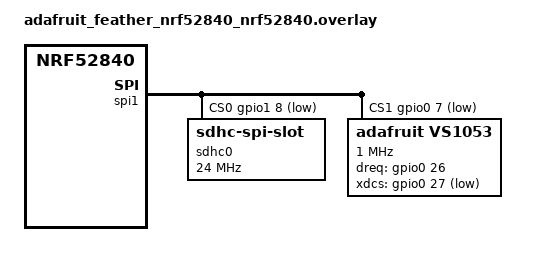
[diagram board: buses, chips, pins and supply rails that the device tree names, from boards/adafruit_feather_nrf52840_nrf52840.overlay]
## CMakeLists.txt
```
cmake_minimum_required(VERSION 3.20.0)
find_package(Zephyr REQUIRED HINTS $ENV{ZEPHYR_BASE})

project(MeshyQ)

target_sources(app PRIVATE
  src/main.c
  src/model_handler.c
  src/chat_cli.c
  src/audio_player.c
  src/vs1053.c
  src/sd_card.c
  src/usb_id.c
  src/bootloader.c
)

target_include_directories(app PRIVATE
  include
)
```

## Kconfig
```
#
# Copyright (c) 2020 Nordic Semiconductor
#
# SPDX-License-Identifier: LicenseRef-Nordic-5-Clause
#

source "Kconfig.zephyr"

menu "MeshyQ wireless audio cue system"

config BT_MESH_CHAT_CLI_MESSAGE_LENGTH
	int "Max length of the message to be sent over mesh"
	default 90
	range 0 255
	help
	  Impacts on memory size occupied by the buffer of a message to be
	  published. This does not include null terminator. The message must also
	  fit into the application SDU. Adjust BT_MESH_TX_SEG_MAX and
	  BT_MESH_RX_SEG_MAX to be able to receive the longest messages.

config BT_MESH_CHAT_SAMPLE_PRESENCE_CACHE_SIZE
	int "Presence cache size"
	default 10
	range 0 32767
	help
	  Presence cache stores previously received presence of chat clients.
	  Recommended to be as big as number of chat clients in the mesh network.

endmenu

module = BT_MESH_CHAT_CLI
module-str = BT Mesh Chat Client model
source "$(ZEPHYR_BASE)/subsys/logging/Kconfig.template.log_config"
```

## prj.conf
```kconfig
CONFIG_NCS_SAMPLES_DEFAULTS=y

# Deferred logging helps improve LPN power consumption
# when friendship is established.
CONFIG_LOG_MODE_DEFERRED=y

# General configuration
CONFIG_NCS_APPLICATION_BOOT_BANNER_STRING="MeshyQ"
CONFIG_SYSTEM_WORKQUEUE_STACK_SIZE=2048
CONFIG_FLASH=y
CONFIG_FLASH_MAP=y
CONFIG_NVS=y
CONFIG_SETTINGS=y
CONFIG_NVS_LOOKUP_CACHE=y
CONFIG_SETTINGS_NVS_NAME_CACHE=y
CONFIG_HWINFO=y
CONFIG_GPIO=y
CONFIG_SPI=y

# The board default USB identity ("Zephyr Project" / "CDC ACM serial
# backend") is a compile-time-fixed string, so it can't include a per-chip
# hardware UID. Disable it in favor of src/usb_id.c, which builds an
# equivalent USB device but names it "MeshyQ <hex UID>" so each node in the
# fleet is distinguishable on the host.
CONFIG_CDC_ACM_SERIAL_INITIALIZE_AT_BOOT=n

# SD card (Music Maker FeatherWing) storage
CONFIG_DISK_ACCESS=y
CONFIG_FILE_SYSTEM=y
CONFIG_FAT_FILESYSTEM_ELM=y

# Bluetooth configuration
CONFIG_BT=y
CONFIG_BT_DEVICE_NAME="MeshyQ"
CONFIG_BT_L2CAP_TX_BUF_COUNT=16
CONFIG_BT_OBSERVER=y
CONFIG_BT_PERIPHERAL=y
CONFIG_BT_SETTINGS=y

# Disable unused Bluetooth features
CONFIG_BT_CTLR_LE_ENC=n
CONFIG_BT_PHY_UPDATE=n
CONFIG_BT_CTLR_CHAN_SEL_2=n
CONFIG_BT_CTLR_MIN_USED_CHAN=n
CONFIG_BT_CTLR_PRIVACY=n

# Bluetooth Mesh configuration
CONFIG_BT_MESH=y
# Every node relays. At the ~13-node scale of this deployment that's the
# right call, not a problem to thin out: the common advice to limit relays
# to a small percentage of nodes is aimed at large (100s of nodes) dense
# lighting-style deployments where redundant relaying causes collision
# storms. A fleet this size needs full relay coverage for connectivity.
CONFIG_BT_MESH_RELAY=y
CONFIG_BT_MESH_FRIEND=y

# Reliability tuning for a sparse-traffic, ~13-node fleet: with infrequent
# messages there's no "the next one will probably get through" luck, so
# each send needs its own redundancy.
#   - Relays forward each packet exactly once by default (retransmit count
#     0). That's the single biggest reliability gap for multi-hop delivery:
#     losing one over-the-air transmission at any hop loses the message
#     outright. Retransmitting twice per hop closes that gap.
#   - The originating node repeats its own first transmission one extra
#     time beyond the default, for the same reason on the first hop.
#   - The replay-protection list (CRPL) defaults to 10 entries, which is
#     under the node count; it should exceed the number of nodes with some
#     margin (entries are cheap, ~64 B each).
CONFIG_BT_MESH_RELAY_RETRANSMIT_COUNT=2
CONFIG_BT_MESH_NETWORK_TRANSMIT_COUNT=3
CONFIG_BT_MESH_CRPL=16

# Mesh buffer and segment configuration (fixes "Unable to allocate loopback")
CONFIG_BT_MESH_LOOPBACK_BUFS=8
CONFIG_BT_MESH_RX_SEG_MAX=16
CONFIG_BT_MESH_TX_SEG_MAX=16
CONFIG_BT_MESH_TX_SEG_MSG_COUNT=4

# Extra relay/advertising buffer headroom for the retransmit counts above:
# more retransmitted copies are in flight per message now, and this project
# has already hit one real "Unable to allocate" bug (see LOOPBACK_BUFS)
# from underestimating buffer needs.
CONFIG_BT_MESH_RELAY_BUF_COUNT=16
CONFIG_BT_MESH_ADV_BUF_COUNT=10

CONFIG_BT_MESH_PB_GATT=y
CONFIG_BT_MESH_GATT_PROXY=y
CONFIG_BT_MESH_CFG_CLI=y

# Enable Bluetooth Mesh models debug logs
CONFIG_BT_MESH_LOG_LEVEL_DBG=y

# Enable Shell module and use UART as a backend
CONFIG_SHELL=y
CONFIG_SHELL_BACKEND_SERIAL=y
CONFIG_FLASH_SHELL=n

# sys_reboot(), used by the "bootloader" shell command (src/bootloader.c)
CONFIG_REBOOT=y

CONFIG_LOG_BACKEND_RTT=n

# Defensive sizing learned the hard way during hardware bring-up: the
# default main stack (1024B) and heap (0B) are too small once SD/FAT and
# Bluetooth Mesh are both in play, and previously caused a hard-to-diagnose
# crash severe enough to prevent USB enumeration. Audio/SD/VS1053 bring-up
# now runs on its own thread (see audio_player.c) with its own 4096B stack,
# but this still gives bt_ready()'s own Bluetooth/mesh init path headroom.
CONFIG_MAIN_STACK_SIZE=4096
CONFIG_HEAP_MEM_POOL_SIZE=4096

# So a stack overflow shows up as a clear fault message instead of a
# silent crash/reset.
CONFIG_HW_STACK_PROTECTION=y
```

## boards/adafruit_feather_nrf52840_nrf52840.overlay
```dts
/*
 * Adafruit Music Maker FeatherWing w/ Amp (VS1053 + microSD), stacked
 * directly on the Feather header.
 *
 * SCK/MOSI/MISO come from the board's default feather_spi (spi1) pins.
 * The two SPI devices below (VS1053 command interface and the SD
 * card) each get their own entry in spi1's cs-gpios, selected by
 * their `reg` index. VS1053 XDCS (data chip-select) and DREQ are not
 * part of the SPI framework's CS handling and are toggled/read
 * manually by the vs1053 driver. The wing ties VS1053 reset to the
 * Feather's shared reset line, so there's no separate reset GPIO.
 *
 * Pin mapping, per Adafruit's Music Maker FeatherWing wiring for
 * Feather boards (fixed by the wing's own PCB, not board-specific):
 *   SD card CS   -> D5  (P1.08)
 *   VS1053 XCS   -> D6  (P0.07)
 *   VS1053 DREQ  -> D9  (P0.26)
 *   VS1053 XDCS  -> D10 (P0.27)
 */

&spi1 {
	status = "okay";
	cs-gpios = <&gpio1 8 GPIO_ACTIVE_LOW>,
		   <&gpio0 7 GPIO_ACTIVE_LOW>;

	sdhc0: sdhc@0 {
		compatible = "zephyr,sdhc-spi-slot";
		reg = <0>;
		status = "okay";
		spi-max-frequency = <24000000>;

		mmc {
			compatible = "zephyr,sdmmc-disk";
			disk-name = "SD";
			status = "okay";
		};
	};

	vs1053: vs1053@1 {
		compatible = "adafruit,vs1053";
		reg = <1>;
		status = "okay";
		spi-max-frequency = <1000000>;
		dreq-gpios = <&gpio0 26 GPIO_ACTIVE_HIGH>;
		xdcs-gpios = <&gpio0 27 GPIO_ACTIVE_LOW>;
	};
};
```

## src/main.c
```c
/** @file
 *  @brief MeshyQ self-provisioning mesh chat node
 */
#include <zephyr/bluetooth/bluetooth.h>
#include <bluetooth/mesh/models.h>
#include <zephyr/drivers/hwinfo.h>
#include <zephyr/kernel.h>
#include <zephyr/sys/util.h>
#include "chat_cli.h"
#include "audio_player.h"
#include "model_handler.h"

#include <zephyr/logging/log.h>
LOG_MODULE_REGISTER(chat, CONFIG_LOG_DEFAULT_LEVEL);

/* Pre-shared keys — identical on all nodes. Not for production use. */
static const uint8_t net_key[16] = {
	0x01, 0x23, 0x45, 0x67, 0x89, 0xab, 0xcd, 0xef,
	0x01, 0x23, 0x45, 0x67, 0x89, 0xab, 0xcd, 0xef,
};
static const uint8_t dev_key[16] = {
	0x01, 0x23, 0x45, 0x67, 0x89, 0xab, 0xcd, 0xef,
	0x01, 0x23, 0x45, 0x67, 0x89, 0xab, 0xcd, 0xef,
};
static const uint8_t app_key[16] = {
	0x01, 0x23, 0x45, 0x67, 0x89, 0xab, 0xcd, 0xef,
	0x01, 0x23, 0x45, 0x67, 0x89, 0xab, 0xcd, 0xef,
};

/* Group address for broadcast chat messages */
#define CHAT_GROUP_ADDR 0xC000

static uint8_t dev_uuid[16];
static uint16_t node_addr;

static const struct bt_mesh_prov prov = {
	.uuid = dev_uuid,
};

/* Each node needs a distinct unicast address: two self-provisioned nodes
 * sharing one address silently break the mesh (replay protection is keyed
 * by (address, sequence number), so their traffic starts colliding). Fold
 * the chip's factory-unique hardware ID down to a 15-bit Bluetooth Mesh
 * unicast address instead of relying on a hand-picked, per-board build
 * setting.
 */
static uint16_t derive_node_addr(const uint8_t *id, size_t len)
{
	uint16_t addr = 0;

	for (size_t i = 0; i < len; i++) {
		addr = (uint16_t)((addr * 31) + id[i]);
	}

	/* Bluetooth Mesh unicast addresses are 15-bit and must not be 0. */
	addr &= 0x7FFF;
	if (addr == 0) {
		addr = 1;
	}

	return addr;
}

static void configure(void)
{
	int err;

	printk("Configuring models...\n");

	err = bt_mesh_cfg_cli_app_key_add(0, node_addr, 0, 0, app_key, NULL);
	printk("  App key add: %d\n", err);
	k_sleep(K_MSEC(500));

	err = bt_mesh_cfg_cli_mod_app_bind(0, node_addr, node_addr, 0,
					   BT_MESH_MODEL_ID_HEALTH_SRV, NULL);
	printk("  Health bind: %d\n", err);
	k_sleep(K_MSEC(500));

	err = bt_mesh_cfg_cli_mod_app_bind_vnd(0, node_addr, node_addr, 0,
					       BT_MESH_CHAT_CLI_VENDOR_MODEL_ID,
					       BT_MESH_CHAT_CLI_VENDOR_COMPANY_ID,
					       NULL);
	printk("  Chat bind: %d\n", err);
	k_sleep(K_MSEC(500));

	err = bt_mesh_cfg_cli_mod_sub_add_vnd(0, node_addr, node_addr,
					      CHAT_GROUP_ADDR,
					      BT_MESH_CHAT_CLI_VENDOR_MODEL_ID,
					      BT_MESH_CHAT_CLI_VENDOR_COMPANY_ID,
					      NULL);
	printk("  Chat subscription: %d\n", err);
	k_sleep(K_MSEC(500));

	/* Publication must be set directly; CFG CLI pub_set is fire-and-forget
	 * and the loopback STATUS response is not guaranteed before first send. */
	model_handler_set_pub(CHAT_GROUP_ADDR, 0, BT_MESH_TTL_DEFAULT);

	printk("Self-configuration complete\n");
}

static void bt_ready(int err)
{
	if (err) {
		printk("Bluetooth init failed (err %d)\n", err);
		return;
	}

	printk("Bluetooth initialized\n");

	err = audio_player_init();
	if (err) {
		printk("Initializing audio playback failed (err %d)\n", err);
	}

	err = bt_mesh_init(&prov, model_handler_init());
	if (err) {
		printk("Initializing mesh failed (err %d)\n", err);
		return;
	}

	if (IS_ENABLED(CONFIG_SETTINGS)) {
		settings_load();
	}

	if (bt_mesh_is_provisioned() && model_handler_addr() != node_addr) {
		/* Stale provisioning from a different addressing scheme (e.g.
		 * an old fixed NODE_ADDR, or a previous test image) - reset
		 * once so this device re-provisions at its current
		 * node_addr. Only do this on an actual mismatch: resetting
		 * every boot would restart this node's sequence number at 0
		 * each time, which other nodes' replay protection would
		 * eventually start treating as a replay of already-seen
		 * traffic and silently drop.
		 */
		printk("Stale provisioning at 0x%04x, resetting to rejoin as 0x%04x\n",
		       model_handler_addr(), node_addr);
		bt_mesh_reset();
	}

	err = bt_mesh_provision(net_key, 0, 0, 0, node_addr, dev_key);
	if (err == -EALREADY) {
		printk("Using stored provisioning data (0x%04x)\n", node_addr);
	} else if (err) {
		printk("Provisioning failed (err %d)\n", err);
		return;
	} else {
		printk("Provisioned as node 0x%04x\n", node_addr);
	}

	k_sleep(K_MSEC(1000));
	configure();

	printk("Mesh initialized\n");
}

int main(void)
{
	int err;

	printk("Initializing...\n");

	ssize_t id_len = hwinfo_get_device_id(dev_uuid, sizeof(dev_uuid));

	if (id_len < 0) {
		printk("hwinfo_get_device_id failed (err %d)\n", (int)id_len);
		id_len = 0;
	}
	node_addr = derive_node_addr(dev_uuid, (size_t)id_len);
	printk("Derived mesh node address: 0x%04x\n", node_addr);

	err = bt_enable(bt_ready);
	if (err) {
		printk("Bluetooth init failed (err %d)\n", err);
	}

	return 0;
}
```

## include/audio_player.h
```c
#ifndef AUDIO_PLAYER_H_
#define AUDIO_PLAYER_H_

/** @brief Mount the SD card and bring up the VS1053 codec. */
int audio_player_init(void);

/**
 * @brief Play a file from the SD card's root directory, if it exists.
 *
 * @retval 0        Playback started.
 * @retval -ENOENT  No such file in the SD card's root directory.
 * @retval -EALREADY A file is already playing.
 * @retval -ENODEV  Audio player has not been initialized.
 */
int audio_player_play_file(const char *filename);

#endif
```

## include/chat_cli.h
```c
/*
 * Copyright (c) 2020 Nordic Semiconductor ASA
 *
 * SPDX-License-Identifier: LicenseRef-Nordic-5-Clause
 */

/**
 * @file
 * @defgroup bt_mesh_chat_cli
 * @{
 * @brief API for the Bluetooth Mesh Chat Client model.
 */

#ifndef BT_MESH_CHAT_CLI_H__
#define BT_MESH_CHAT_CLI_H__

#include <zephyr/bluetooth/mesh.h>
#include <bluetooth/mesh/model_types.h>

#ifdef __cplusplus
extern "C" {
#endif

/* .. include_startingpoint_chat_cli_rst_1 */
/** Company ID of the Bluetooth Mesh Chat Client model. */
#define BT_MESH_CHAT_CLI_VENDOR_COMPANY_ID    CONFIG_BT_COMPANY_ID_NORDIC

/** Model ID of the Bluetooth Mesh Chat Client model. */
#define BT_MESH_CHAT_CLI_VENDOR_MODEL_ID      0x000A

/** Non-private message opcode. */
#define BT_MESH_CHAT_CLI_OP_MESSAGE BT_MESH_MODEL_OP_3(0x0A, \
				       BT_MESH_CHAT_CLI_VENDOR_COMPANY_ID)

/** Private message opcode. */
#define BT_MESH_CHAT_CLI_OP_PRIVATE_MESSAGE BT_MESH_MODEL_OP_3(0x0B, \
				       BT_MESH_CHAT_CLI_VENDOR_COMPANY_ID)

/** Message reply opcode. */
#define BT_MESH_CHAT_CLI_OP_MESSAGE_REPLY BT_MESH_MODEL_OP_3(0x0C, \
				       BT_MESH_CHAT_CLI_VENDOR_COMPANY_ID)

/** Presence message opcode. */
#define BT_MESH_CHAT_CLI_OP_PRESENCE BT_MESH_MODEL_OP_3(0x0D, \
				       BT_MESH_CHAT_CLI_VENDOR_COMPANY_ID)

/** Presence get message opcode. */
#define BT_MESH_CHAT_CLI_OP_PRESENCE_GET BT_MESH_MODEL_OP_3(0x0E, \
				       BT_MESH_CHAT_CLI_VENDOR_COMPANY_ID)
/* .. include_endpoint_chat_cli_rst_1 */

#define BT_MESH_CHAT_CLI_MSG_MINLEN_MESSAGE 1
#define BT_MESH_CHAT_CLI_MSG_MAXLEN_MESSAGE (\
				     CONFIG_BT_MESH_CHAT_CLI_MESSAGE_LENGTH \
				     + 1) /* + \0 */
/* Reply text uses the same minimum/maximum length as a regular message. */
#define BT_MESH_CHAT_CLI_MSG_MINLEN_MESSAGE_REPLY BT_MESH_CHAT_CLI_MSG_MINLEN_MESSAGE
#define BT_MESH_CHAT_CLI_MSG_MAXLEN_MESSAGE_REPLY BT_MESH_CHAT_CLI_MSG_MAXLEN_MESSAGE
#define BT_MESH_CHAT_CLI_MSG_LEN_PRESENCE 1
#define BT_MESH_CHAT_CLI_MSG_LEN_PRESENCE_GET 0

/** Bluetooth Mesh Chat Client Presence values. */
enum bt_mesh_chat_cli_presence {
	BT_MESH_CHAT_CLI_PRESENCE_AVAILABLE,
	BT_MESH_CHAT_CLI_PRESENCE_AWAY,
	BT_MESH_CHAT_CLI_PRESENCE_INACTIVE,
	BT_MESH_CHAT_CLI_PRESENCE_DO_NOT_DISTURB
};

/* Forward declaration of the Bluetooth Mesh Chat Client model context. */
struct bt_mesh_chat_cli;

/* .. include_startingpoint_chat_cli_rst_2 */
/** @def BT_MESH_MODEL_CHAT_CLI
 *
 * @brief Bluetooth Mesh Chat Client model composition data entry.
 *
 * @param[in] _chat Pointer to a @ref bt_mesh_chat_cli instance.
 */
#define BT_MESH_MODEL_CHAT_CLI(_chat)                                          \
		BT_MESH_MODEL_VND_CB(BT_MESH_CHAT_CLI_VENDOR_COMPANY_ID,       \
			BT_MESH_CHAT_CLI_VENDOR_MODEL_ID,                      \
			_bt_mesh_chat_cli_op, &(_chat)->pub,                   \
			BT_MESH_MODEL_USER_DATA(struct bt_mesh_chat_cli,       \
						_chat),                        \
			&_bt_mesh_chat_cli_cb)
/* .. include_endpoint_chat_cli_rst_2 */

/** Bluetooth Mesh Chat Client model handlers. */
struct bt_mesh_chat_cli_handlers {
	/** @brief Called after the node has been provisioned, or after all
	 * mesh data has been loaded from persistent storage.
	 *
	 * @param[in] cli Chat Client instance that has been started.
	 */
	void (*const start)(struct bt_mesh_chat_cli *chat);

	/** @brief Handler for a presence message.
	 *
	 * @param[in] cli Chat client instance that received the text message.
	 * @param[in] ctx Context of the incoming message.
	 * @param[in] presence Presence of a Chat Client that published
	 * the message.
	 */
	void (*const presence)(struct bt_mesh_chat_cli *chat,
			       struct bt_mesh_msg_ctx *ctx,
			       enum bt_mesh_chat_cli_presence presence);

	/** @brief Handler for a non-private text message.
	 *
	 * @param[in] cli Chat client instance that received the text message.
	 * @param[in] ctx Context of the incoming message.
	 * @param[in] msg Pointer to a received text message terminated with
	 * a null character, '\0'.
	 */
	void (*const message)(struct bt_mesh_chat_cli *chat,
			      struct bt_mesh_msg_ctx *ctx,
			      const uint8_t *msg);

	/** @brief Handler for a private message.
	 *
	 * @param[in] cli Chat client that received the text message.
	 * @param[in] ctx Context of the incoming message.
	 * @param[in] msg Pointer to a received text message terminated with
	 * a null character, '\0'.
	 */
	void (*const private_message)(struct bt_mesh_chat_cli *chat,
				      struct bt_mesh_msg_ctx *ctx,
				      const uint8_t *msg);

	/** @brief Handler for a reply to a previously sent message.
	 *
	 * @param[in] cli Chat client instance that received the reply.
	 * @param[in] ctx Context of the incoming message.
	 * @param[in] msg Pointer to the reply text, describing what the
	 * replying node is acknowledging (e.g. "found <file>"). Terminated
	 * with a null character, '\0'.
	 */
	void (*const message_reply)(struct bt_mesh_chat_cli *chat,
				    struct bt_mesh_msg_ctx *ctx,
				    const uint8_t *msg);
};

/* .. include_startingpoint_chat_cli_rst_3 */
/**
 * Bluetooth Mesh Chat Client model context.
 */
struct bt_mesh_chat_cli {
	/** Access model pointer. */
	const struct bt_mesh_model *model;
	/** Publish parameters. */
	struct bt_mesh_model_pub pub;
	/** Publication message. */
	struct net_buf_simple pub_msg;
	/** Publication message buffer. */
	uint8_t buf[BT_MESH_MODEL_BUF_LEN(BT_MESH_CHAT_CLI_OP_MESSAGE,
					  BT_MESH_CHAT_CLI_MSG_MAXLEN_MESSAGE)];
	/** Handler function structure. */
	const struct bt_mesh_chat_cli_handlers *handlers;
	/** Current Presence value. */
	enum bt_mesh_chat_cli_presence presence;
};
/* .. include_endpoint_chat_cli_rst_3 */

/** @brief Set the client presence and publish the presence to the mesh network.
 *
 * @param[in] chat     Chat Client model instance to set presence on.
 * @param[in] presence Presence status to be published.
 *
 * @retval 0 Successfully set the preceive and sent the message.
 * @retval -EADDRNOTAVAIL Publishing is not configured.
 * @retval -EAGAIN The device has not been provisioned.
 */
int bt_mesh_chat_cli_presence_set(struct bt_mesh_chat_cli *chat,
				  enum bt_mesh_chat_cli_presence presence);

/** @brief Get current presence value of a chat client.
 *
 * @param[in] chat Chat Client model instance to send the message.
 * @param[in] addr Address of the chat client to get presence value of.
 *
 * @retval 0 Successfully sent the message.
 * @retval -EINVAL The model is not bound to an application key.
 * @retval -EAGAIN The device has not been provisioned.
 */
int bt_mesh_chat_cli_presence_get(struct bt_mesh_chat_cli *chat,
				  uint16_t addr);

/** @brief Send a text message.
 *
 * @param[in] cli Chat Client model instance to send the message.
 * @param[in] msg Pointer to a text message to send. Must be terminated with
 * a null character, '\0'.
 *
 * @retval 0 Successfully sent the message.
 * @retval -EADDRNOTAVAIL Publishing is not configured.
 * @retval -EAGAIN The device has not been provisioned.
 */
int bt_mesh_chat_cli_message_send(struct bt_mesh_chat_cli *chat,
				  const uint8_t *msg);

/** @brief Send a text message to a specified destination.
 *
 * @param[in] cli  Chat Client model instance to send the message.
 * @param[in] addr Address of the chat client to send message to.
 * @param[in] msg  Pointer to a text message to send. Must be terminated with
 * a null character, '\0'.
 *
 * @retval 0 Successfully sent the message.
 * @retval -EINVAL The model is not bound to an application key.
 * @retval -EAGAIN The device has not been provisioned.
 */
int bt_mesh_chat_cli_private_message_send(struct bt_mesh_chat_cli *chat,
					  uint16_t addr,
					  const uint8_t *msg);

/** @brief Send a reply to the sender of a received message.
 *
 * Unlike @ref bt_mesh_chat_cli_private_message_send, this always targets
 * @p ctx->addr directly regardless of how the original message was
 * addressed (group or unicast), so it can be used to reply to a message
 * received via a group publish.
 *
 * @param[in] chat Chat Client model instance to send the reply from.
 * @param[in] ctx  Context of the message being replied to.
 * @param[in] text Reply text, e.g. "found example.wav". Must be terminated
 * with a null character, '\0'.
 *
 * @retval 0 Successfully sent the reply.
 * @retval -EINVAL The model is not bound to an application key.
 * @retval -EAGAIN The device has not been provisioned.
 */
int bt_mesh_chat_cli_reply_send(struct bt_mesh_chat_cli *chat,
				struct bt_mesh_msg_ctx *ctx,
				const uint8_t *text);

/** @cond INTERNAL_HIDDEN */
extern const struct bt_mesh_model_op _bt_mesh_chat_cli_op[];
extern const struct bt_mesh_model_cb _bt_mesh_chat_cli_cb;
/** @endcond */

#ifdef __cplusplus
}
#endif

#endif /* BT_MESH_CHAT_CLI_H__ */

/** @} */
```

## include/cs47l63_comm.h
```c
#ifndef CS47L63_COMM_H_
#define CS47L63_COMM_H_

#include "cs47l63.h"

int cs47l63_comm_init(cs47l63_t *driver);

#endif
```

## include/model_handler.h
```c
/*
 * Copyright (c) 2020 Nordic Semiconductor ASA
 *
 * SPDX-License-Identifier: LicenseRef-Nordic-5-Clause
 */

/**
 * @file
 * @brief Model handler
 */

#ifndef MODEL_HANDLER_H__
#define MODEL_HANDLER_H__

#include <zephyr/bluetooth/mesh.h>

#ifdef __cplusplus
extern "C" {
#endif

const struct bt_mesh_comp *model_handler_init(void);
void model_handler_set_pub(uint16_t addr, uint16_t app_key_idx, uint8_t ttl);
int model_handler_broadcast_text(const char *msg);

#ifdef __cplusplus
}
#endif

#endif /* MODEL_HANDLER_H__ */
```

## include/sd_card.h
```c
#ifndef SD_CARD_H_
#define SD_CARD_H_

#include <stdbool.h>
#include <stddef.h>

/** @brief Mount the FAT filesystem on the SD card. */
int sd_card_init(void);

/**
 * @brief Resolve a bare filename to a path in the SD card's root directory,
 * and check that it exists there as a regular file.
 *
 * Only the root directory is searched: @p filename must not contain a path
 * separator, so mesh messages can't be used to reach into subdirectories.
 *
 * @param filename    Bare filename, e.g. "example.wav".
 * @param path_out    Buffer to receive the resolved path.
 * @param path_out_size Size of @p path_out.
 *
 * @retval true  The file exists in the SD card's root directory.
 * @retval false The name is invalid, or no such file exists.
 */
bool sd_card_resolve_root_file(const char *filename, char *path_out, size_t path_out_size);

#endif /* SD_CARD_H_ */
```

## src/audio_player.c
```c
#include "audio_player.h"

#include <errno.h>
#include <stdbool.h>
#include <stdlib.h>
#include <string.h>

#include <zephyr/fs/fs.h>
#include <zephyr/kernel.h>
#include <zephyr/logging/log.h>
#include <zephyr/shell/shell.h>

#include "sd_card.h"
#include "vs1053.h"

LOG_MODULE_REGISTER(audio_player, CONFIG_LOG_DEFAULT_LEVEL);

#define AUDIO_PLAYER_PATH_MAX 128
#define AUDIO_PLAYER_READ_CHUNK 512

/* Matches vs1053.c's own startup default (VS1053_DEFAULT_VOL_ATTEN =
 * 0x20), just expressed on the 0-100 scale used by the shell command
 * below, so the reported "current" volume is right from boot even
 * before the volume command is ever used.
 */
#define VOLUME_DEFAULT_PERCENT 87
/* Generous stack: this thread also does the SD card mount and FAT
 * filesystem bring-up, which use more stack than typical playback code
 * (FatFs keeps per-call work buffers on the stack). Sizing this thread's
 * stack independently of the main thread keeps a slow or failing SD card
 * from ever touching main()'s stack or blocking bt_ready()/the shell.
 */
#define AUDIO_THREAD_STACK_SIZE 4096
#define AUDIO_THREAD_PRIO 7

K_THREAD_STACK_DEFINE(audio_thread_stack, AUDIO_THREAD_STACK_SIZE);

static struct {
	struct k_sem play_request;
	struct k_mutex lock;
	struct k_thread thread;
	k_tid_t thread_id;
	bool ready;
	bool busy;
	char pending_path[AUDIO_PLAYER_PATH_MAX];
} player;

static uint8_t volume_percent = VOLUME_DEFAULT_PERCENT;

/* VS1053's SCI_VOL register is an attenuation in 0.5 dB steps: 0x00 is
 * loudest, 0xFE is the quietest non-powerdown value (0xFF cuts the
 * channel's analog output entirely, so it's deliberately never reached
 * here). Map the shell's 0-100 "volume" onto that range.
 */
static uint8_t percent_to_attenuation(uint8_t percent)
{
	return (uint8_t)((100 - percent) * 254 / 100);
}

static void play_file(const char *path)
{
	static uint8_t chunk[AUDIO_PLAYER_READ_CHUNK];
	struct fs_file_t file;
	int err;

	fs_file_t_init(&file);

	err = fs_open(&file, path, FS_O_READ);
	if (err) {
		LOG_WRN("Failed to open %s: %d", path, err);
		return;
	}

	while (1) {
		ssize_t read = fs_read(&file, chunk, sizeof(chunk));

		if (read < 0) {
			LOG_WRN("Read error on %s: %d", path, (int)read);
			break;
		}

		if (read == 0) {
			break;
		}

		err = vs1053_play_data(chunk, (size_t)read);
		if (err) {
			LOG_WRN("Playback error on %s: %d", path, err);
			break;
		}
	}

	vs1053_stop();
	fs_close(&file);
}

static void audio_thread(void *arg1, void *arg2, void *arg3)
{
	ARG_UNUSED(arg1);
	ARG_UNUSED(arg2);
	ARG_UNUSED(arg3);

	/* SD mount and VS1053 bring-up happen here, on this thread's own
	 * stack, instead of inline in audio_player_init(). That keeps a
	 * slow or misbehaving SD card / codec from blocking bt_ready() (and
	 * therefore Bluetooth/mesh bring-up) or starving the shell thread.
	 */
	if (sd_card_init() || vs1053_init()) {
		LOG_ERR("Audio hardware bring-up failed; playback disabled");
		return;
	}

	/* Make sure the tracked volume_percent and the chip's actual
	 * register agree from boot, rather than relying on two separately
	 * maintained defaults staying in sync.
	 */
	vs1053_set_volume(percent_to_attenuation(volume_percent),
			   percent_to_attenuation(volume_percent));

	k_mutex_lock(&player.lock, K_FOREVER);
	player.ready = true;
	k_mutex_unlock(&player.lock);

	while (1) {
		char path[AUDIO_PLAYER_PATH_MAX];

		k_sem_take(&player.play_request, K_FOREVER);

		k_mutex_lock(&player.lock, K_FOREVER);
		strcpy(path, player.pending_path);
		k_mutex_unlock(&player.lock);

		play_file(path);

		k_mutex_lock(&player.lock, K_FOREVER);
		player.busy = false;
		k_mutex_unlock(&player.lock);
	}
}

int audio_player_init(void)
{
	k_sem_init(&player.play_request, 0, 1);
	k_mutex_init(&player.lock);

	player.thread_id = k_thread_create(&player.thread, audio_thread_stack,
					   K_THREAD_STACK_SIZEOF(audio_thread_stack),
					   audio_thread, NULL, NULL, NULL,
					   K_PRIO_PREEMPT(AUDIO_THREAD_PRIO), 0,
					   K_NO_WAIT);
	(void)k_thread_name_set(player.thread_id, "audio_player");

	return 0;
}

int audio_player_play_file(const char *filename)
{
	char path[AUDIO_PLAYER_PATH_MAX];

	k_mutex_lock(&player.lock, K_FOREVER);
	if (!player.ready) {
		k_mutex_unlock(&player.lock);
		return -ENODEV;
	}
	k_mutex_unlock(&player.lock);

	if (!sd_card_resolve_root_file(filename, path, sizeof(path))) {
		return -ENOENT;
	}

	k_mutex_lock(&player.lock, K_FOREVER);
	if (player.busy) {
		k_mutex_unlock(&player.lock);
		return -EALREADY;
	}

	player.busy = true;
	strcpy(player.pending_path, path);
	k_mutex_unlock(&player.lock);

	k_sem_give(&player.play_request);
	return 0;
}

/* Local-only trigger: plays straight from the shell, independent of mesh
 * state, so a single DUT with nothing else on the network can still be
 * tested.
 */
static int cmd_play(const struct shell *shell, size_t argc, char *argv[])
{
	int err;

	err = audio_player_play_file(argv[1]);
	switch (err) {
	case 0:
		shell_print(shell, "Playing %s", argv[1]);
		break;
	case -ENOENT:
		shell_error(shell, "No such file in the SD card's root directory: %s", argv[1]);
		break;
	case -EALREADY:
		shell_error(shell, "Already playing a file");
		break;
	case -ENODEV:
		shell_error(shell, "Audio player not initialized");
		break;
	default:
		shell_error(shell, "Failed to play %s: %d", argv[1], err);
		break;
	}

	return 0;
}

SHELL_CMD_ARG_REGISTER(play, NULL,
			"Play a file from the SD card's root directory <filename>", cmd_play, 2,
			0);

/* Volume is a VS1053 hardware register, not a per-file setting: it stays
 * wherever it's set across every subsequent play (and every mesh-triggered
 * playback), so it's its own command rather than a `play` argument.
 */
static int cmd_volume(const struct shell *shell, size_t argc, char *argv[])
{
	long percent;
	char *endptr;
	bool ready;

	if (argc == 1) {
		shell_print(shell, "Volume: %u%%", volume_percent);
		return 0;
	}

	k_mutex_lock(&player.lock, K_FOREVER);
	ready = player.ready;
	k_mutex_unlock(&player.lock);

	if (!ready) {
		shell_error(shell, "Audio player not initialized");
		return -ENODEV;
	}

	percent = strtol(argv[1], &endptr, 10);
	if (*endptr != '\0' || percent < 0 || percent > 100) {
		shell_error(shell, "Volume must be 0-100");
		return -EINVAL;
	}

	volume_percent = (uint8_t)percent;
	vs1053_set_volume(percent_to_attenuation(volume_percent),
			   percent_to_attenuation(volume_percent));
	shell_print(shell, "Volume set to %u%%", volume_percent);

	return 0;
}

SHELL_CMD_ARG_REGISTER(volume, NULL, "Get or set output volume, persists across play [0-100]",
			cmd_volume, 1, 1);
```

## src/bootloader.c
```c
/** @file
 *  @brief Shell command to reboot into the Adafruit UF2 bootloader.
 *
 *  The board ships with Adafruit's UF2 bootloader (see
 *  boards/adafruit_feather_nrf52840_nrf52840_uf2.conf), which normally only
 *  exposes its mass-storage drive for drag-and-drop flashing after a
 *  physical double-tap of the reset button. That bootloader also enters the
 *  same mode on a warm boot if it finds a magic value in POWER's GPREGRET
 *  retention register, which a system reset leaves untouched. This lets a
 *  shell command over the existing CDC-ACM console (usb_id.c) trigger it
 *  without touching the board.
 */

#include <zephyr/kernel.h>
#include <zephyr/shell/shell.h>
#include <zephyr/sys/reboot.h>
#include <hal/nrf_power.h>

/* Adafruit_nRF52_Bootloader's DFU_MAGIC_UF2_RESET: tells the bootloader to
 * stay in UF2 mass-storage mode instead of jumping to the application.
 */
#define ADAFRUIT_UF2_DFU_MAGIC 0x57

static int cmd_bootloader(const struct shell *sh, size_t argc, char **argv)
{
	ARG_UNUSED(argc);
	ARG_UNUSED(argv);

	shell_print(sh, "Rebooting into UF2 bootloader...");
	k_msleep(100); /* let the console output above drain before reset */

	nrf_power_gpregret_set(NRF_POWER, 0, ADAFRUIT_UF2_DFU_MAGIC);
	sys_reboot(SYS_REBOOT_COLD);

	return 0;
}

SHELL_CMD_REGISTER(bootloader, NULL,
		    "Reboot into the UF2 mass-storage bootloader", cmd_bootloader);
```

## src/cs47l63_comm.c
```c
#define DT_DRV_COMPAT cirrus_cs47l63

#include "cs47l63_comm.h"

#include <errno.h>
#include <stdint.h>
#include <stdlib.h>
#include <string.h>

#include <zephyr/drivers/gpio.h>
#include <zephyr/drivers/spi.h>
#include <zephyr/kernel.h>
#include <zephyr/logging/log.h>

#include "bsp_driver_if.h"
#include "cs47l63.h"

LOG_MODULE_REGISTER(cs47l63_comm, CONFIG_LOG_DEFAULT_LEVEL);

#define CS47L63_DEVID_VAL 0x47A63
#define CS47L63_PAD_LEN 4
#define CS47L63_THREAD_STACK_SIZE 1024
#define CS47L63_THREAD_PRIO 5
#define CS47L63_PROCESS_THREAD_DELAY_MS 10

static const struct gpio_dt_spec hw_codec_gpio = GPIO_DT_SPEC_INST_GET(0, gpio9_gpios);
static const struct gpio_dt_spec hw_codec_irq = GPIO_DT_SPEC_INST_GET(0, irq_gpios);
static const struct gpio_dt_spec hw_codec_reset = GPIO_DT_SPEC_INST_GET(0, reset_gpios);

static const struct device *gpio_dev = DEVICE_DT_GET(DT_NODELABEL(gpio0));

static const struct spi_dt_spec spi = SPI_DT_SPEC_INST_GET(
	0, SPI_OP_MODE_MASTER | SPI_TRANSFER_MSB | SPI_WORD_SET(8) | SPI_LINES_SINGLE);
static bsp_callback_t bsp_callback;
static void *bsp_callback_arg;

static struct gpio_callback gpio_cb;
static struct k_thread cs47l63_thread_data;
static k_tid_t cs47l63_thread_id;
static K_THREAD_STACK_DEFINE(cs47l63_thread_stack, CS47L63_THREAD_STACK_SIZE);
static K_SEM_DEFINE(sem_cs47l63, 0, 1);
static struct k_mutex cirrus_reg_oper_mutex;

static void notification_callback(uint32_t event_flags, void *arg)
{
	ARG_UNUSED(event_flags);
	ARG_UNUSED(arg);
}

static int spi_mutex_lock(void)
{
	int ret;

	ret = k_mutex_lock(&cirrus_reg_oper_mutex, K_FOREVER);
	if (ret) {
		LOG_ERR("Failed to lock mutex: %d", ret);
		return ret;
	}

	if ((spi.config.operation & SPI_HOLD_ON_CS) || (spi.config.operation & SPI_LOCK_ON)) {
		LOG_ERR("SPI_HOLD_ON_CS and SPI_LOCK_ON must be freed before releasing mutex");
		return -EPERM;
	}

	return 0;
}

static int spi_mutex_unlock(void)
{
	int ret;

	if ((spi.config.operation & SPI_HOLD_ON_CS) || (spi.config.operation & SPI_LOCK_ON)) {
		LOG_ERR("SPI_HOLD_ON_CS and SPI_LOCK_ON must be freed before releasing mutex");
		return -EPERM;
	}

	ret = k_mutex_unlock(&cirrus_reg_oper_mutex);
	if (ret) {
		LOG_ERR("Failed to unlock mutex: %d", ret);
		return ret;
	}

	return 0;
}

static void cs47l63_comm_pin_int_handler(const struct device *gpio_port, struct gpio_callback *cb,
					 uint32_t pins)
{
	ARG_UNUSED(gpio_port);
	ARG_UNUSED(cb);

	__ASSERT(bsp_callback != NULL, "No callback registered");

	if (pins == BIT(hw_codec_irq.pin)) {
		bsp_callback(BSP_STATUS_OK, bsp_callback_arg);
		k_sem_give(&sem_cs47l63);
	}
}

static uint32_t cs47l63_comm_reg_read(uint32_t bsp_dev_id, uint8_t *addr_buffer,
				      uint32_t addr_length, uint8_t *data_buffer,
				      uint32_t data_length, uint32_t pad_len)
{
	uint8_t pad_buffer[CS47L63_PAD_LEN] = { 0 };
	struct spi_buf rx_buf[] = {
		{ .buf = addr_buffer, .len = addr_length },
		{ .buf = pad_buffer, .len = pad_len },
		{ .buf = data_buffer, .len = data_length },
	};
	struct spi_buf_set rx = {
		.buffers = rx_buf,
		.count = ARRAY_SIZE(rx_buf),
	};
	int ret;

	ARG_UNUSED(bsp_dev_id);

	if (pad_len != CS47L63_PAD_LEN) {
		LOG_ERR("Trying to pad more than 4 bytes: %u", pad_len);
		return BSP_STATUS_FAIL;
	}

	ret = spi_mutex_lock();
	if (ret) {
		return BSP_STATUS_FAIL;
	}

	ret = spi_transceive_dt(&spi, &rx, &rx);
	if (ret) {
		LOG_ERR("Failed transceive operation: %d", ret);
		return BSP_STATUS_FAIL;
	}

	ret = spi_mutex_unlock();
	if (ret) {
		return BSP_STATUS_FAIL;
	}

	return BSP_STATUS_OK;
}

static uint32_t cs47l63_comm_reg_write(uint32_t bsp_dev_id, uint8_t *addr_buffer,
				       uint32_t addr_length, uint8_t *data_buffer,
				       uint32_t data_length, uint32_t pad_len)
{
	uint8_t pad_buffer[CS47L63_PAD_LEN] = { 0 };
	struct spi_buf tx_buf[] = {
		{ .buf = addr_buffer, .len = addr_length },
		{ .buf = pad_buffer, .len = pad_len },
		{ .buf = data_buffer, .len = data_length },
	};
	struct spi_buf_set tx = {
		.buffers = tx_buf,
		.count = ARRAY_SIZE(tx_buf),
	};
	int ret;

	ARG_UNUSED(bsp_dev_id);

	if (pad_len != CS47L63_PAD_LEN) {
		LOG_ERR("Trying to pad more than 4 bytes: %u", pad_len);
		return BSP_STATUS_FAIL;
	}

	ret = spi_mutex_lock();
	if (ret) {
		return BSP_STATUS_FAIL;
	}

	ret = spi_write_dt(&spi, &tx);
	if (ret) {
		LOG_ERR("SPI failed to write: %d", ret);
		return BSP_STATUS_FAIL;
	}

	ret = spi_mutex_unlock();
	if (ret) {
		return BSP_STATUS_FAIL;
	}

	return BSP_STATUS_OK;
}

static uint32_t cs47l63_comm_gpio_set(uint32_t gpio_id, uint8_t gpio_state)
{
	int ret;

	ret = gpio_pin_set_raw(gpio_dev, gpio_id, gpio_state);
	if (ret) {
		LOG_ERR("Failed to set gpio state, ret: %d", ret);
		return BSP_STATUS_FAIL;
	}

	return BSP_STATUS_OK;
}

static uint32_t cs47l63_comm_gpio_cb_register(uint32_t gpio_id, bsp_callback_t cb, void *cb_arg)
{
	int ret;

	bsp_callback = cb;
	bsp_callback_arg = cb_arg;

	gpio_init_callback(&gpio_cb, cs47l63_comm_pin_int_handler, BIT(gpio_id));

	ret = gpio_add_callback(gpio_dev, &gpio_cb);
	if (ret) {
		return BSP_STATUS_FAIL;
	}

	ret = gpio_pin_interrupt_configure(gpio_dev, gpio_id, GPIO_INT_EDGE_TO_INACTIVE);
	if (ret) {
		return BSP_STATUS_FAIL;
	}

	return BSP_STATUS_OK;
}

static uint32_t cs47l63_comm_timer_set(uint32_t duration_ms, bsp_callback_t cb, void *cb_arg)
{
	if (cb != NULL || cb_arg != NULL) {
		LOG_ERR("Timer with callback not supported");
		return BSP_STATUS_FAIL;
	}

	k_msleep(duration_ms);

	return BSP_STATUS_OK;
}

static uint32_t cs47l63_comm_set_supply(uint32_t supply_id, uint8_t supply_state)
{
	ARG_UNUSED(supply_id);
	ARG_UNUSED(supply_state);
	return BSP_STATUS_OK;
}

static uint32_t cs47l63_comm_i2c_reset(uint32_t bsp_dev_id, bool *was_i2c_busy)
{
	ARG_UNUSED(bsp_dev_id);
	ARG_UNUSED(was_i2c_busy);
	LOG_ERR("Tried to reset I2C, not supported");
	return BSP_STATUS_FAIL;
}

static uint32_t cs47l63_comm_i2c_read_repeated_start(uint32_t bsp_dev_id, uint8_t *write_buffer,
					     uint32_t write_length, uint8_t *read_buffer,
					     uint32_t read_length, bsp_callback_t cb,
					     void *cb_arg)
{
	ARG_UNUSED(bsp_dev_id);
	ARG_UNUSED(write_buffer);
	ARG_UNUSED(write_length);
	ARG_UNUSED(read_buffer);
	ARG_UNUSED(read_length);
	ARG_UNUSED(cb);
	ARG_UNUSED(cb_arg);
	LOG_ERR("Tried to read repeated start I2C, not supported");
	return BSP_STATUS_FAIL;
}

static uint32_t cs47l63_comm_i2c_write(uint32_t bsp_dev_id, uint8_t *write_buffer,
				       uint32_t write_length, bsp_callback_t cb, void *cb_arg)
{
	ARG_UNUSED(bsp_dev_id);
	ARG_UNUSED(write_buffer);
	ARG_UNUSED(write_length);
	ARG_UNUSED(cb);
	ARG_UNUSED(cb_arg);
	LOG_ERR("Tried writing to I2C, not supported");
	return BSP_STATUS_FAIL;
}

static uint32_t cs47l63_comm_i2c_db_write(uint32_t bsp_dev_id, uint8_t *write_buffer_0,
					  uint32_t write_length_0, uint8_t *write_buffer_1,
					  uint32_t write_length_1, bsp_callback_t cb,
					  void *cb_arg)
{
	ARG_UNUSED(bsp_dev_id);
	ARG_UNUSED(write_buffer_0);
	ARG_UNUSED(write_length_0);
	ARG_UNUSED(write_buffer_1);
	ARG_UNUSED(write_length_1);
	ARG_UNUSED(cb);
	ARG_UNUSED(cb_arg);
	LOG_ERR("Tried to write double buffered I2C, not supported");
	return BSP_STATUS_FAIL;
}

static uint32_t cs47l63_comm_enable_irq(void)
{
	LOG_ERR("Tried to enable irq, not supported");
	return BSP_STATUS_FAIL;
}

static uint32_t cs47l63_comm_disable_irq(void)
{
	LOG_ERR("Tried to disable irq, not supported");
	return BSP_STATUS_FAIL;
}

static uint32_t cs47l63_comm_spi_throttle_speed(uint32_t speed_hz)
{
	ARG_UNUSED(speed_hz);
	LOG_ERR("Tried to throttle SPI speed, not supported");
	return BSP_STATUS_FAIL;
}

static uint32_t cs47l63_comm_spi_restore_speed(void)
{
	LOG_ERR("Tried to restore SPI speed, not supported");
	return BSP_STATUS_FAIL;
}

static void cs47l63_comm_thread(void *cs47l63_driver, void *dummy2, void *dummy3)
{
	int ret;

	ARG_UNUSED(dummy2);
	ARG_UNUSED(dummy3);

	while (1) {
		k_sem_take(&sem_cs47l63, K_FOREVER);
		ret = cs47l63_process((cs47l63_t *)cs47l63_driver);
		if (ret) {
			LOG_ERR("CS47L63 failed to process event");
		}
	}
}

static cs47l63_bsp_config_t bsp_config = {
	.bsp_reset_gpio_id = 18,
	.bsp_int_gpio_id = 19,
	.cp_config.bus_type = CS47L63_BUS_TYPE_SPI,
	.cp_config.spi_pad_len = CS47L63_PAD_LEN,
	.notification_cb = &notification_callback,
	.notification_cb_arg = NULL,
};

int cs47l63_comm_init(cs47l63_t *cs47l63_driver)
{
	cs47l63_config_t cs47l63_config;
	int ret;

	memset(&cs47l63_config, 0, sizeof(cs47l63_config));
	k_mutex_init(&cirrus_reg_oper_mutex);

	if (!spi_is_ready_dt(&spi)) {
		LOG_ERR("CS47L63 is not ready");
		return -ENXIO;
	}

	if (!device_is_ready(gpio_dev) || !gpio_is_ready_dt(&hw_codec_gpio) ||
	    !gpio_is_ready_dt(&hw_codec_irq) || !gpio_is_ready_dt(&hw_codec_reset)) {
		LOG_ERR("Codec GPIO dependency is not ready");
		return -ENXIO;
	}

	ret = gpio_pin_configure_dt(&hw_codec_gpio, GPIO_INPUT);
	if (ret) {
		return ret;
	}

	ret = gpio_pin_configure_dt(&hw_codec_irq, GPIO_INPUT);
	if (ret) {
		return ret;
	}

	ret = gpio_pin_configure_dt(&hw_codec_reset, GPIO_OUTPUT);
	if (ret) {
		return ret;
	}

	cs47l63_thread_id = k_thread_create(&cs47l63_thread_data, cs47l63_thread_stack,
					    K_THREAD_STACK_SIZEOF(cs47l63_thread_stack),
					    cs47l63_comm_thread, cs47l63_driver, NULL, NULL,
					    K_PRIO_PREEMPT(CS47L63_THREAD_PRIO), 0,
					    K_MSEC(CS47L63_PROCESS_THREAD_DELAY_MS));

	ret = k_thread_name_set(cs47l63_thread_id, "cs47l63_evt");
	if (ret) {
		return ret;
	}

	ret = cs47l63_initialize(cs47l63_driver);
	if (ret != CS47L63_STATUS_OK) {
		LOG_ERR("Failed to initialize CS47L63");
		return -ENXIO;
	}

	cs47l63_config.bsp_config = bsp_config;
	cs47l63_config.syscfg_regs = cs47l63_syscfg_regs;
	cs47l63_config.syscfg_regs_total = CS47L63_SYSCFG_REGS_TOTAL;

	ret = cs47l63_configure(cs47l63_driver, &cs47l63_config);
	if (ret != CS47L63_STATUS_OK) {
		LOG_ERR("Failed to configure CS47L63");
		return -ENXIO;
	}

	ret = cs47l63_reset(cs47l63_driver);
	if (ret != CS47L63_STATUS_OK) {
		LOG_ERR("Failed to reset CS47L63");
		return -ENXIO;
	}

	if (cs47l63_driver->devid != CS47L63_DEVID_VAL) {
		LOG_ERR("Wrong device id: 0x%05x, should be 0x%05x", cs47l63_driver->devid,
			CS47L63_DEVID_VAL);
		return -EIO;
	}

	return 0;
}

static bsp_driver_if_t bsp_driver_if_s = {
	.set_gpio = &cs47l63_comm_gpio_set,
	.register_gpio_cb = &cs47l63_comm_gpio_cb_register,
	.set_timer = &cs47l63_comm_timer_set,
	.spi_read = &cs47l63_comm_reg_read,
	.spi_write = &cs47l63_comm_reg_write,
	.set_supply = &cs47l63_comm_set_supply,
	.i2c_read_repeated_start = &cs47l63_comm_i2c_read_repeated_start,
	.i2c_write = &cs47l63_comm_i2c_write,
	.i2c_db_write = &cs47l63_comm_i2c_db_write,
	.i2c_reset = &cs47l63_comm_i2c_reset,
	.enable_irq = &cs47l63_comm_enable_irq,
	.disable_irq = &cs47l63_comm_disable_irq,
	.spi_throttle_speed = &cs47l63_comm_spi_throttle_speed,
	.spi_restore_speed = &cs47l63_comm_spi_restore_speed,
};

bsp_driver_if_t *bsp_driver_if_g = &bsp_driver_if_s;
```

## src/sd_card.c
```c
#include "sd_card.h"

#include <string.h>
#include <stdio.h>

#include <ff.h>
#include <zephyr/fs/fs.h>
#include <zephyr/logging/log.h>
#include <zephyr/shell/shell.h>

LOG_MODULE_REGISTER(sd_card, CONFIG_LOG_DEFAULT_LEVEL);

#define SD_CARD_MOUNT_POINT "/SD:"

static FATFS fat_fs;
static struct fs_mount_t mp = {
	.type = FS_FATFS,
	.fs_data = &fat_fs,
	.mnt_point = SD_CARD_MOUNT_POINT,
};

int sd_card_init(void)
{
	int err;

	err = fs_mount(&mp);
	if (err) {
		LOG_ERR("Failed to mount SD card: %d", err);
		return err;
	}

	LOG_INF("SD card mounted at %s", SD_CARD_MOUNT_POINT);
	return 0;
}

bool sd_card_resolve_root_file(const char *filename, char *path_out, size_t path_out_size)
{
	struct fs_dirent entry;
	size_t needed;

	if (!filename || filename[0] == '\0') {
		return false;
	}

	/* Root directory only: reject anything that could reference a
	 * subdirectory or walk out of it.
	 */
	if (strchr(filename, '/') || strchr(filename, '\\') ||
	    strcmp(filename, ".") == 0 || strcmp(filename, "..") == 0) {
		return false;
	}

	needed = strlen(SD_CARD_MOUNT_POINT) + 1 + strlen(filename) + 1;
	if (needed > path_out_size) {
		return false;
	}

	snprintf(path_out, path_out_size, "%s/%s", SD_CARD_MOUNT_POINT, filename);

	if (fs_stat(path_out, &entry) != 0) {
		return false;
	}

	return entry.type == FS_DIR_ENTRY_FILE;
}

static int cmd_ls(const struct shell *shell, size_t argc, char *argv[])
{
	struct fs_dir_t dir;
	int err;

	fs_dir_t_init(&dir);

	err = fs_opendir(&dir, SD_CARD_MOUNT_POINT);
	if (err) {
		shell_error(shell, "Failed to open %s: %d", SD_CARD_MOUNT_POINT, err);
		return err;
	}

	while (1) {
		struct fs_dirent entry;

		err = fs_readdir(&dir, &entry);
		if (err) {
			shell_error(shell, "Read error: %d", err);
			break;
		}

		if (entry.name[0] == '\0') {
			break;
		}

		if (entry.type == FS_DIR_ENTRY_DIR) {
			shell_print(shell, "%s/", entry.name);
		} else {
			shell_print(shell, "%-32s %u", entry.name, entry.size);
		}
	}

	fs_closedir(&dir);
	return 0;
}

SHELL_CMD_ARG_REGISTER(ls, NULL, "List the SD card's root directory", cmd_ls, 1, 0);
```
